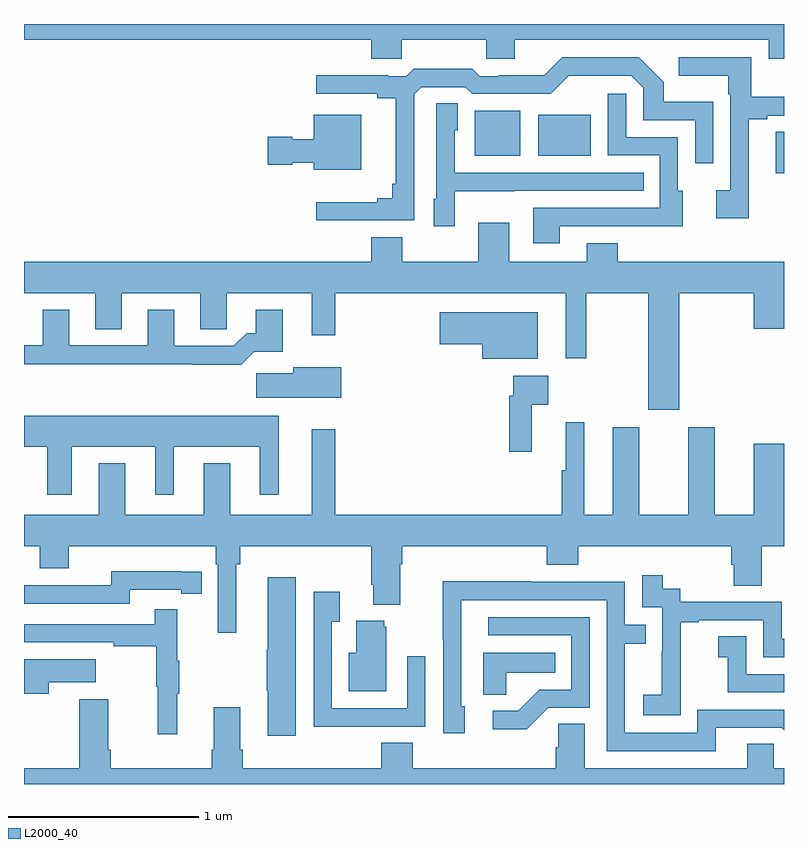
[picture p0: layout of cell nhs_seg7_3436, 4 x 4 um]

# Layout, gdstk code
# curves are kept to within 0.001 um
import gdstk
lib = gdstk.Library(unit=1e-6, precision=1e-09)
def R(c, l, rs):  # rectangles x0, y0, x1, y1
    for r in rs: c.add(gdstk.rectangle(r[:2], r[2:], *l))
def P(c, l, *ps):  # polygons
    for p in ps: c.add(gdstk.Polygon(p, *l))
L2000_40 = (2000, 40)

nhs_seg7_3436 = lib.new_cell('nhs_seg7_3436')
R(nhs_seg7_3436, L2000_40, [(332.957,1033.214,333,1033.433), (331.373,1033.307,331.612,1033.543), (331.706,1033.307,331.984,1033.522)])
P(nhs_seg7_3436, L2000_40, [(333,1034),(329,1034),(329,1033.916),(330.827,1033.916),(330.827,1033.818),(330.987,1033.818),(330.987,1033.916),(331.432,1033.916),(331.432,1033.818),(331.582,1033.818),(331.582,1033.916),(332.921,1033.916),(332.921,1033.817),(333,1033.817)],
  [(332.815,1033.5),(332.911,1033.5),(332.911,1033.518),(333,1033.518),(333,1033.616),(332.827,1033.616),(332.827,1033.824),(332.445,1033.824),(332.445,1033.727),(332.706,1033.727),(332.706,1033.631),(332.718,1033.631),(332.718,1033.126),(332.643,1033.126),(332.643,1032.978),(332.815,1032.978)],
  [(331.053,1033.629),(331.092,1033.668),(331.323,1033.668),(331.359,1033.632),(331.773,1033.632),(331.868,1033.727),(332.196,1033.728),(332.259,1033.665),(332.259,1033.494),(332.532,1033.494),(332.532,1033.266),(332.628,1033.266),(332.628,1033.591),(332.367,1033.591),(332.367,1033.694),(332.236,1033.824),(331.833,1033.824),(331.739,1033.73),(331.498,1033.73),(331.498,1033.725),(331.398,1033.725),(331.359,1033.765),(331.051,1033.765),(331.011,1033.725),(330.917,1033.725),(330.917,1033.73),(330.537,1033.73),(330.537,1033.632),(330.86,1033.632),(330.86,1033.61),(330.956,1033.61),(330.956,1033.159),(330.937,1033.159),(330.937,1033.082),(330.86,1033.082),(330.86,1033.063),(330.537,1033.063),(330.537,1032.966),(331.053,1032.966)],
  [(331.819,1032.936),(332.249,1032.936),(332.249,1032.935),(332.467,1032.935),(332.467,1033.122),(332.442,1033.122),(332.442,1033.404),(332.169,1033.404),(332.169,1033.632),(332.073,1033.632),(332.073,1033.308),(332.346,1033.308),(332.346,1033.032),(331.679,1033.032),(331.679,1032.846),(331.819,1032.846)],
  [(331.266,1033.121),(331.583,1033.121),(331.583,1033.122),(332.261,1033.122),(332.261,1033.218),(331.266,1033.218),(331.266,1033.44),(331.282,1033.44),(331.282,1033.583),(331.17,1033.583),(331.17,1033.08),(331.157,1033.08),(331.157,1032.936),(331.266,1032.936)],
  [(330.775,1033.522),(330.524,1033.522),(330.524,1033.393),(330.411,1033.393),(330.411,1033.406),(330.282,1033.406),(330.282,1033.259),(330.411,1033.259),(330.411,1033.271),(330.524,1033.271),(330.524,1033.232),(330.775,1033.232)],
  [(332.449,1032.584),(332.84,1032.584),(332.84,1032.396),(333,1032.396),(333,1032.748),(332.125,1032.748),(332.125,1032.847),(331.961,1032.847),(331.961,1032.748),(331.555,1032.748),(331.555,1032.955),(331.391,1032.955),(331.391,1032.748),(330.991,1032.748),(330.991,1032.877),(330.827,1032.877),(330.827,1032.748),(329,1032.748),(329,1032.584),(329.375,1032.584),(329.375,1032.394),(329.515,1032.394),(329.515,1032.584),(329.927,1032.584),(329.927,1032.394),(330.066,1032.394),(330.066,1032.584),(330.515,1032.584),(330.515,1032.363),(330.637,1032.363),(330.637,1032.584),(331.85,1032.584),(331.85,1032.24),(331.96,1032.24),(331.96,1032.584),(332.285,1032.584),(332.285,1031.97),(332.449,1031.97)],
  [(330.212,1032.275),(330.361,1032.275),(330.361,1032.496),(330.221,1032.496),(330.221,1032.373),(330.172,1032.373),(330.105,1032.306),(329.791,1032.306),(329.791,1032.496),(329.651,1032.496),(329.651,1032.309),(329.239,1032.309),(329.239,1032.496),(329.099,1032.496),(329.099,1032.309),(329,1032.309),(329,1032.208),(329.887,1032.208),(329.887,1032.206),(330.143,1032.206)],
  [(331.705,1032.484),(331.188,1032.484),(331.188,1032.314),(331.412,1032.314),(331.412,1032.239),(331.705,1032.239)],
  [(330.67,1032.193),(330.416,1032.193),(330.416,1032.161),(330.222,1032.161),(330.222,1032.032),(330.67,1032.032)],
  [(331.673,1031.996),(331.759,1031.996),(331.759,1032.148),(331.575,1032.148),(331.575,1032.044),(331.555,1032.044),(331.555,1031.748),(331.673,1031.748)],
  [(329.251,1031.774),(329.69,1031.774),(329.69,1031.523),(329.788,1031.523),(329.788,1031.774),(330.242,1031.774),(330.242,1031.523),(330.34,1031.523),(330.34,1031.938),(329,1031.938),(329,1031.774),(329.123,1031.774),(329.123,1031.523),(329.251,1031.523)],
  [(330.118,1031.156),(330.137,1031.156),(330.137,1031.252),(330.827,1031.252),(330.827,1031.05),(330.839,1031.05),(330.839,1030.943),(330.979,1030.943),(330.979,1031.156),(330.992,1031.156),(330.992,1031.252),(331.751,1031.252),(331.751,1031.153),(331.916,1031.153),(331.916,1031.252),(332.723,1031.252),(332.723,1031.154),(332.735,1031.154),(332.735,1031.044),(332.883,1031.044),(332.883,1031.252),(333,1031.252),(333,1031.791),(332.84,1031.791),(332.84,1031.416),(332.635,1031.416),(332.635,1031.878),(332.495,1031.878),(332.495,1031.416),(332.239,1031.416),(332.239,1031.878),(332.099,1031.878),(332.099,1031.416),(331.948,1031.416),(331.948,1031.905),(331.85,1031.905),(331.85,1031.652),(331.831,1031.652),(331.831,1031.416),(330.637,1031.416),(330.637,1031.866),(330.515,1031.866),(330.515,1031.416),(330.085,1031.416),(330.085,1031.689),(329.945,1031.689),(329.945,1031.416),(329.533,1031.416),(329.533,1031.689),(329.393,1031.689),(329.393,1031.416),(329,1031.416),(329,1031.252),(329.084,1031.252),(329.084,1031.135),(329.236,1031.135),(329.236,1031.252),(330.008,1031.252),(330.008,1031.156),(330.021,1031.156),(330.021,1030.797),(330.118,1030.797)],
  [(329.556,1031.022),(329.828,1031.022),(329.828,1031.002),(329.936,1031.002),(329.936,1031.118),(329.828,1031.118),(329.828,1031.119),(329.46,1031.119),(329.46,1031.046),(329,1031.046),(329,1030.95),(329.556,1030.95)],
  [(332.457,1030.567),(332.456,1030.567),(332.456,1030.851),(332.551,1030.851),(332.551,1030.863),(332.892,1030.863),(332.892,1030.668),(333,1030.668),(333,1030.764),(332.988,1030.764),(332.988,1030.959),(332.454,1030.959),(332.454,1031.028),(332.362,1031.028),(332.362,1031.098),(332.253,1031.098),(332.253,1030.929),(332.358,1030.929),(332.358,1030.7),(332.357,1030.7),(332.357,1030.471),(332.259,1030.471),(332.259,1030.361),(332.457,1030.361)],
  [(330.43,1031.089),(330.284,1031.089),(330.284,1030.709),(330.277,1030.709),(330.277,1030.492),(330.284,1030.492),(330.284,1030.254),(330.43,1030.254)],
  [(332.641,1030.296),(332.988,1030.296),(333,1030.284),(333,1030.392),(332.544,1030.392),(332.544,1030.269),(332.163,1030.269),(332.163,1030.738),(332.273,1030.738),(332.273,1030.839),(332.163,1030.839),(332.163,1031.064),(331.667,1031.064),(331.667,1031.066),(331.204,1031.066),(331.204,1030.759),(331.206,1030.759),(331.206,1030.266),(331.321,1030.266),(331.321,1030.41),(331.302,1030.41),(331.302,1030.968),(332.067,1030.968),(332.067,1030.173),(332.641,1030.173)],
  [(330.797,1030.302),(331.113,1030.302),(331.113,1030.672),(331.017,1030.672),(331.017,1030.398),(330.621,1030.398),(330.621,1030.855),(330.661,1030.855),(330.661,1031.011),(330.525,1031.011),(330.525,1030.301),(330.797,1030.301)],
  [(329.807,1030.475),(329.818,1030.475),(329.818,1030.649),(329.807,1030.649),(329.807,1030.921),(329.689,1030.921),(329.689,1030.842),(329,1030.842),(329,1030.746),(329.473,1030.746),(329.473,1030.726),(329.697,1030.726),(329.697,1030.512),(329.704,1030.512),(329.704,1030.263),(329.807,1030.263)],
  [(331.758,1030.401),(331.977,1030.401),(331.977,1030.878),(331.443,1030.878),(331.443,1030.782),(331.881,1030.782),(331.881,1030.497),(331.712,1030.497),(331.601,1030.386),(331.467,1030.386),(331.467,1030.289),(331.645,1030.289)],
  [(330.907,1030.827),(330.896,1030.827),(330.896,1030.858),(330.749,1030.858),(330.749,1030.69),(330.71,1030.69),(330.71,1030.487),(330.907,1030.487)],
  [(333,1030.578),(332.802,1030.578),(332.802,1030.777),(332.655,1030.777),(332.655,1030.667),(332.704,1030.667),(332.704,1030.482),(333,1030.482)],
  [(331.539,1030.586),(331.796,1030.586),(331.796,1030.69),(331.418,1030.69),(331.418,1030.471),(331.539,1030.471)],
  [(329.129,1030.535),(329.377,1030.535),(329.377,1030.657),(329,1030.657),(329,1030.476),(329.129,1030.476)],
  [(330.139,1030.18),(330.139,1030.405),(329.999,1030.405),(329.999,1030.18),(329.987,1030.18),(329.987,1030.084),(329.456,1030.084),(329.456,1030.18),(329.443,1030.18),(329.443,1030.447),(329.291,1030.447),(329.291,1030.084),(329,1030.084),(329,1030),(333,1030),(333,1030.084),(332.946,1030.084),(332.946,1030.211),(332.807,1030.211),(332.807,1030.084),(331.951,1030.084),(331.951,1030.316),(331.812,1030.316),(331.812,1030.193),(331.799,1030.193),(331.799,1030.084),(331.046,1030.084),(331.046,1030.217),(330.881,1030.217),(330.881,1030.084),(330.152,1030.084),(330.152,1030.18)])

lib.write_gds('nhs_seg7_3436.gds')
